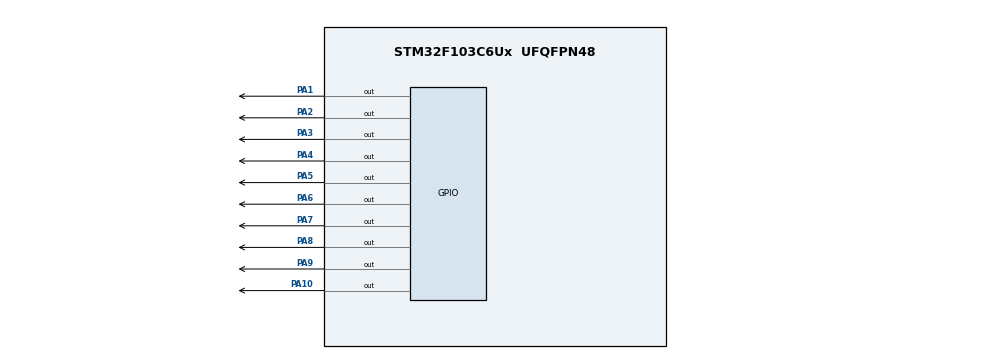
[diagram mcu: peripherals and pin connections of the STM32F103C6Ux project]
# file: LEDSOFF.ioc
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Mcu.Family=STM32F1
Mcu.Name=STM32F103C6Ux
Mcu.Package=UFQFPN48
NVIC.PriorityGroup=NVIC_PRIORITYGROUP_4
PA1.Signal=GPIO_Output
PA10.Signal=GPIO_Output
PA2.Signal=GPIO_Output
PA3.Signal=GPIO_Output
PA4.Signal=GPIO_Output
PA5.Signal=GPIO_Output
PA6.Signal=GPIO_Output
PA7.Signal=GPIO_Output
PA8.Signal=GPIO_Output
PA9.Signal=GPIO_Output
ProjectManager.HeapSize=0x200
ProjectManager.StackSize=0x400
ProjectManager.TargetToolchain=STM32CubeIDE
RCC.APB1Freq_Value=8000000
RCC.APB2Freq_Value=8000000
VP_SYS_VS_ND.Mode=No_Debug
board=custom

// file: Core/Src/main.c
/* USER CODE BEGIN Header */
/**
  ******************************************************************************
  * @file           : main.c
  * @brief          : Main program body
  ******************************************************************************
  * @attention
  *
  * <h2><center>&copy; Copyright (c) 2022 STMicroelectronics.
  * All rights reserved.</center></h2>
  *
  * This software component is licensed by ST under BSD 3-Clause license,
  * the "License"; You may not use this file except in compliance with the
  * License. You may obtain a copy of the License at:
  *                        opensource.org/licenses/BSD-3-Clause
  *
  ******************************************************************************
  */
/* USER CODE END Header */
#include "main.h"

void SystemClock_Config(void);
static void MX_GPIO_Init(void);
/* USER CODE BEGIN PFP */
int int_to_pin(int input){
	int pin_gate;
		switch(input){
		case 1:
				pin_gate=GPIO_PIN_1;
				break;
		case 2:
				pin_gate=GPIO_PIN_2;
				break;
		case 3:
				pin_gate=GPIO_PIN_3;
				break;
		case 4:
				pin_gate=GPIO_PIN_4;
				break;
		case 5:
				pin_gate=GPIO_PIN_5;
				break;
		case 6:
				pin_gate=GPIO_PIN_6;
				break;
		case 7:
				pin_gate=GPIO_PIN_7;
				break;
		case 8:
				pin_gate=GPIO_PIN_8;
				break;
		case 9:
				pin_gate=GPIO_PIN_9;
				break;
		case 10:
				pin_gate=GPIO_PIN_10;
				break;
		}
		return pin_gate;
}

void setPin(int input, int logic) {
	GPIO_PinState state;
	if (logic) state = GPIO_PIN_SET;
	else state = GPIO_PIN_RESET;
	int pin_gate=int_to_pin(input);
	HAL_GPIO_WritePin(GPIOA, pin_gate, state);
}

void ClearAllClock(int logic){
	if (logic) {
		HAL_GPIO_WritePin(GPIOA, GPIO_PIN_1, RESET);
		HAL_GPIO_WritePin(GPIOA, GPIO_PIN_2, RESET);
		HAL_GPIO_WritePin(GPIOA, GPIO_PIN_3, RESET);
		HAL_GPIO_WritePin(GPIOA, GPIO_PIN_4, RESET);
		HAL_GPIO_WritePin(GPIOA, GPIO_PIN_5, RESET);
		HAL_GPIO_WritePin(GPIOA, GPIO_PIN_6, RESET);
		HAL_GPIO_WritePin(GPIOA, GPIO_PIN_7, RESET);
		HAL_GPIO_WritePin(GPIOA, GPIO_PIN_8, RESET);
		HAL_GPIO_WritePin(GPIOA, GPIO_PIN_9, RESET);
		HAL_GPIO_WritePin(GPIOA, GPIO_PIN_10, RESET);
	}
}
/* USER CODE END PFP */

int main(void)
{

  /* MCU Configuration--------------------------------------------------------*/

  /* Reset of all peripherals, Initializes the Flash interface and the Systick. */
  HAL_Init();

  /* Configure the system clock */
  SystemClock_Config();

  /* Initialize all configured peripherals */
  MX_GPIO_Init();

  /* Infinite loop */
  /* USER CODE BEGIN WHILE */
  while (1)
  {
	    setPin(1,1);
	  	setPin(2,1);
	  	setPin(3,1);
	  	setPin(4,1);
	  	setPin(5,1);
	  	setPin(6,0);
	  	setPin(7,0);
	  	setPin(8,0);
	  	setPin(9,0);
	  	setPin(10,0);
	  	HAL_Delay(1000);
	  	ClearAllClock(1);
	  	HAL_Delay(1000);
    /* USER CODE END WHILE */

  }
}

void SystemClock_Config(void)
{
  RCC_OscInitTypeDef RCC_OscInitStruct = {0};
  RCC_ClkInitTypeDef RCC_ClkInitStruct = {0};

  /** Initializes the RCC Oscillators according to the specified parameters
  * in the RCC_OscInitTypeDef structure.
  */
  RCC_OscInitStruct.OscillatorType = RCC_OSCILLATORTYPE_HSI;
  RCC_OscInitStruct.HSIState = RCC_HSI_ON;
  RCC_OscInitStruct.HSICalibrationValue = RCC_HSICALIBRATION_DEFAULT;
  RCC_OscInitStruct.PLL.PLLState = RCC_PLL_NONE;
  if (HAL_RCC_OscConfig(&RCC_OscInitStruct) != HAL_OK)
  {
    Error_Handler();
  }
  /** Initializes the CPU, AHB and APB buses clocks
  */
  RCC_ClkInitStruct.ClockType = RCC_CLOCKTYPE_HCLK|RCC_CLOCKTYPE_SYSCLK
                              |RCC_CLOCKTYPE_PCLK1|RCC_CLOCKTYPE_PCLK2;
  RCC_ClkInitStruct.SYSCLKSource = RCC_SYSCLKSOURCE_HSI;
  RCC_ClkInitStruct.AHBCLKDivider = RCC_SYSCLK_DIV1;
  RCC_ClkInitStruct.APB1CLKDivider = RCC_HCLK_DIV1;
  RCC_ClkInitStruct.APB2CLKDivider = RCC_HCLK_DIV1;

  if (HAL_RCC_ClockConfig(&RCC_ClkInitStruct, FLASH_LATENCY_0) != HAL_OK)
  {
    Error_Handler();
  }
}

static void MX_GPIO_Init(void)
{
  GPIO_InitTypeDef GPIO_InitStruct = {0};

  /* GPIO Ports Clock Enable */
  __HAL_RCC_GPIOA_CLK_ENABLE();

  /*Configure GPIO pin Output Level */
  HAL_GPIO_WritePin(GPIOA, GPIO_PIN_1|GPIO_PIN_2|GPIO_PIN_3|GPIO_PIN_4
                          |GPIO_PIN_5|GPIO_PIN_6|GPIO_PIN_7|GPIO_PIN_8
                          |GPIO_PIN_9|GPIO_PIN_10, GPIO_PIN_RESET);

  /*Configure GPIO pins : PA1 PA2 PA3 PA4
                           PA5 PA6 PA7 PA8
                           PA9 PA10 */
  GPIO_InitStruct.Pin = GPIO_PIN_1|GPIO_PIN_2|GPIO_PIN_3|GPIO_PIN_4
                          |GPIO_PIN_5|GPIO_PIN_6|GPIO_PIN_7|GPIO_PIN_8
                          |GPIO_PIN_9|GPIO_PIN_10;
  GPIO_InitStruct.Mode = GPIO_MODE_OUTPUT_PP;
  GPIO_InitStruct.Pull = GPIO_NOPULL;
  GPIO_InitStruct.Speed = GPIO_SPEED_FREQ_LOW;
  HAL_GPIO_Init(GPIOA, &GPIO_InitStruct);

}

void Error_Handler(void)
{
  __disable_irq();
  while (1)
  {
  }
}

/************************ (C) COPYRIGHT STMicroelectronics *****END OF FILE****/
